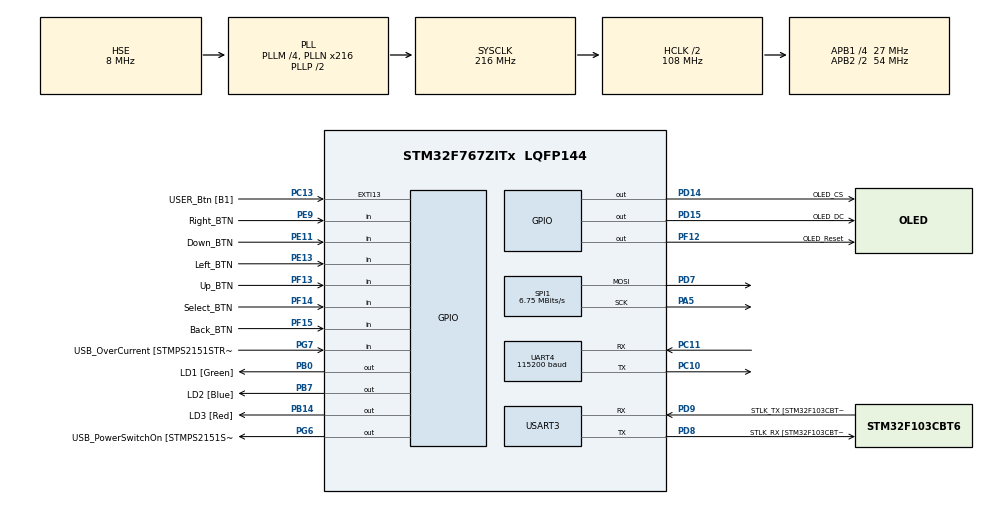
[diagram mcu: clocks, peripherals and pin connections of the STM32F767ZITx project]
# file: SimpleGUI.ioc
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Mcu.Family=STM32F7
Mcu.Name=STM32F767ZITx
Mcu.Package=LQFP144
NVIC.PriorityGroup=NVIC_PRIORITYGROUP_4
NVIC.TIM3_IRQn=true\:0\:0\:false\:false\:true\:true\:true\:true
NVIC.UART4_IRQn=true\:0\:0\:false\:false\:true\:true\:true\:true
NVIC.USART3_IRQn=true\:0\:0\:false\:false\:true\:true\:true\:true
PA1.GPIO_Label=RMII_REF_CLK [LAN8742A-CZ-TR_REFCLK0]
PA1.Signal=ETH_REF_CLK
PA10.GPIO_Label=USB_ID
PA10.Signal=USB_OTG_FS_ID
PA11.GPIO_Label=USB_DM
PA11.Signal=USB_OTG_FS_DM
PA12.GPIO_Label=USB_DP
PA12.Signal=USB_OTG_FS_DP
PA13.GPIO_Label=TMS
PA13.Mode=Serial_Wire
PA13.Signal=SYS_JTMS-SWDIO
PA14.GPIO_Label=TCK
PA14.Mode=Serial_Wire
PA14.Signal=SYS_JTCK-SWCLK
PA2.GPIO_Label=RMII_MDIO [LAN8742A-CZ-TR_MDIO]
PA2.Signal=ETH_MDIO
PA5.Mode=TX_Only_Simplex_Unidirect_Master
PA5.Signal=SPI1_SCK
PA7.GPIO_Label=RMII_CRS_DV [LAN8742A-CZ-TR_CRS_DV]
PA7.Signal=ETH_CRS_DV
PA8.GPIO_Label=USB_SOF [TP1]
PA8.Signal=USB_OTG_FS_SOF
PA9.GPIO_Label=USB_VBUS
PA9.Signal=USB_OTG_FS_VBUS
PB0.GPIO_Label=LD1 [Green]
PB0.Signal=GPIO_Output
PB13.GPIO_Label=RMII_TXD1 [LAN8742A-CZ-TR_TXD1]
PB13.Signal=ETH_TXD1
PB14.GPIO_Label=LD3 [Red]
PB14.Signal=GPIO_Output
PB3.GPIO_Label=SWO
PB3.Signal=SYS_JTDO-SWO
PB7.GPIO_Label=LD2 [Blue]
PB7.Signal=GPIO_Output
PC1.GPIO_Label=RMII_MDC [LAN8742A-CZ-TR_MDC]
PC1.Signal=ETH_MDC
PC10.Mode=Asynchronous
PC10.Signal=UART4_TX
PC11.Mode=Asynchronous
PC11.Signal=UART4_RX
PC13.GPIO_Label=USER_Btn [B1]
PC13.Signal=GPXTI13
PC14/OSC32_IN.Mode=LSE-External-Oscillator
PC14/OSC32_IN.Signal=RCC_OSC32_IN
PC15/OSC32_OUT.Mode=LSE-External-Oscillator
PC15/OSC32_OUT.Signal=RCC_OSC32_OUT
PC4.GPIO_Label=RMII_RXD0 [LAN8742A-CZ-TR_RXD0]
PC4.Signal=ETH_RXD0
PC5.GPIO_Label=RMII_RXD1 [LAN8742A-CZ-TR_RXD1]
PC5.Signal=ETH_RXD1
PD14.GPIO_Label=OLED_CS
PD14.Signal=GPIO_Output
PD15.GPIO_Label=OLED_DC
PD15.Signal=GPIO_Output
PD7.Mode=TX_Only_Simplex_Unidirect_Master
PD7.Signal=SPI1_MOSI
PD8.GPIO_Label=STLK_RX [STM32F103CBT6_PA3]
PD8.Mode=Asynchronous
PD8.Signal=USART3_TX
PD9.GPIO_Label=STLK_TX [STM32F103CBT6_PA2]
PD9.Mode=Asynchronous
PD9.Signal=USART3_RX
PE11.GPIO_Label=Down_BTN
PE11.GPIO_PuPd=GPIO_PULLDOWN
PE11.Signal=GPIO_Input
PE13.GPIO_Label=Left_BTN
PE13.GPIO_PuPd=GPIO_PULLDOWN
PE13.Signal=GPIO_Input
PE9.GPIO_Label=Right_BTN
PE9.GPIO_PuPd=GPIO_PULLDOWN
PE9.Signal=GPIO_Input
PF12.GPIO_Label=OLED_Reset
PF12.Signal=GPIO_Output
PF13.GPIO_Label=Up_BTN
PF13.GPIO_PuPd=GPIO_PULLDOWN
PF13.Signal=GPIO_Input
PF14.GPIO_Label=Select_BTN
PF14.GPIO_PuPd=GPIO_PULLDOWN
PF14.Signal=GPIO_Input
PF15.GPIO_Label=Back_BTN
PF15.GPIO_PuPd=GPIO_PULLDOWN
PF15.Signal=GPIO_Input
PG11.GPIO_Label=RMII_TX_EN [LAN8742A-CZ-TR_TXEN]
PG11.Signal=ETH_TX_EN
PG13.GPIO_Label=RMII_TXD0 [LAN8742A-CZ-TR_TXD0]
PG13.Signal=ETH_TXD0
PG6.GPIO_Label=USB_PowerSwitchOn [STMPS2151STR_EN]
PG6.Signal=GPIO_Output
PG7.GPIO_Label=USB_OverCurrent [STMPS2151STR_FAULT]
PG7.Signal=GPIO_Input
PH0/OSC_IN.GPIO_Label=MCO [STM32F103CBT6_PA8]
PH0/OSC_IN.Mode=HSE-External-Clock-Source
PH0/OSC_IN.Signal=RCC_OSC_IN
PH1/OSC_OUT.Mode=HSE-External-Clock-Source
PH1/OSC_OUT.Signal=RCC_OSC_OUT
ProjectManager.HeapSize=0x200
ProjectManager.StackSize=0x400
ProjectManager.TargetToolchain=STM32CubeIDE
RCC.48MHZClocksFreq_Value=24000000
RCC.AHBCLKDivider=RCC_SYSCLK_DIV2
RCC.AHBFreq_Value=108000000
RCC.APB1CLKDivider=RCC_HCLK_DIV4
RCC.APB1Freq_Value=27000000
RCC.APB1TimFreq_Value=54000000
RCC.APB2CLKDivider=RCC_HCLK_DIV2
RCC.APB2Freq_Value=54000000
RCC.APB2TimFreq_Value=108000000
RCC.CortexFreq_Value=108000000
RCC.HCLKFreq_Value=108000000
RCC.HSE_VALUE=8000000
RCC.HSI_VALUE=16000000
RCC.PLLM=4
RCC.PLLMUL=RCC_PLL_MUL9
RCC.PLLN=216
RCC.PLLQ=9
RCC.PLLSourceVirtual=RCC_PLLSOURCE_HSE
RCC.PRESCALERUSB=RCC_USBCLKSOURCE_PLL_DIV1_5
RCC.SYSCLKFreq_VALUE=216000000
RCC.SYSCLKSource=RCC_SYSCLKSOURCE_PLLCLK
RCC.SYSCLKSourceVirtual=RCC_SYSCLKSOURCE_PLLCLK
RCC.USBFreq_Value=48000000
RCC.VCOOutputFreq_Value=432000000
SPI1.BaudRatePrescaler=SPI_BAUDRATEPRESCALER_8
SPI1.CalculateBaudRate=6.75 MBits/s
SPI1.DataSize=SPI_DATASIZE_8BIT
SPI1.Direction=SPI_DIRECTION_2LINES
SPI1.Mode=SPI_MODE_MASTER
SPI1.NSSPMode=SPI_NSS_PULSE_DISABLE
SPI1.VirtualType=VM_MASTER
TIM3.AutoReloadPreload=TIM_AUTORELOAD_PRELOAD_ENABLE
TIM3.Prescaler=54000
UART4.BaudRate=115200
UART4.Parity=PARITY_NONE
USART3.VirtualMode-Asynchronous=VM_ASYNC
VP_TIM3_VS_ClockSourceINT.Mode=Internal
board=NUCLEO-F767ZI

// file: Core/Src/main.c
/* USER CODE BEGIN Header */
/**
  ******************************************************************************
  * @file           : main.c
  * @brief          : Main program body
  ******************************************************************************
  * @attention
  *
  * Copyright (c) 2024 STMicroelectronics.
  * All rights reserved.
  *
  * This software is licensed under terms that can be found in the LICENSE file
  * in the root directory of this software component.
  * If no LICENSE file comes with this software, it is provided AS-IS.
  *
  ******************************************************************************
  */
/* USER CODE END Header */
#include "main.h"

/* USER CODE BEGIN Includes */
#include "u8g2stm32/u8g2.h"
#include <string.h>
#include "Bitmaps.h"
#include "GUI.h"
#include <stdio.h>
/* USER CODE END Includes */

/* USER CODE BEGIN PD */
#define TX_TIMEOUT		100
/* USER CODE END PD */

SPI_HandleTypeDef hspi1;

TIM_HandleTypeDef htim3;

UART_HandleTypeDef huart4;
UART_HandleTypeDef huart3;

void SystemClock_Config(void);
static void MX_GPIO_Init(void);
static void MX_SPI1_Init(void);
static void MX_TIM3_Init(void);
static void MX_UART4_Init(void);
static void MX_USART3_UART_Init(void);
/* USER CODE BEGIN PFP */

uint8_t u8g2_gpio_and_delay_stm32(U8X8_UNUSED u8x8_t *u8x8, U8X8_UNUSED uint8_t msg, U8X8_UNUSED uint8_t arg_int, U8X8_UNUSED void *arg_ptr)
{
	switch(msg){
		//Initialize SPI peripheral
		case U8X8_MSG_GPIO_AND_DELAY_INIT:
			/* HAL initialization contains all what we need so we can skip this part. */

		break;

		//Function which implements a delay, arg_int contains the amount of ms
		case U8X8_MSG_DELAY_MILLI:
		HAL_Delay(arg_int);

		break;
		//Function which delays 10us
		case U8X8_MSG_DELAY_10MICRO:
		for (uint16_t n = 0; n < 320; n++)
		{
			__NOP();
		}

		break;
		//Function which delays 100ns
		case U8X8_MSG_DELAY_100NANO:
		__NOP();

		break;
		// Function to define the logic level of the CS line
		case U8X8_MSG_GPIO_CS:
			HAL_GPIO_WritePin(OLED_CS_GPIO_Port, OLED_CS_Pin, arg_int);
			//Disable NSS and enable another gpio pin as CS
		break;
		//Function to define the logic level of the Data/ Command line
		case U8X8_MSG_GPIO_DC:
			HAL_GPIO_WritePin(OLED_DC_GPIO_Port, OLED_DC_Pin, arg_int);
		break;
		//Function to define the logic level of the RESET line
		case U8X8_MSG_GPIO_RESET:
			HAL_GPIO_WritePin(OLED_Reset_GPIO_Port, OLED_Reset_Pin, arg_int);
		break;

	}

	return 1; // command processed successfully.
}

uint8_t u8x8_byte_stm32_hw_spi(u8x8_t *u8x8, uint8_t msg, uint8_t arg_int, void *arg_ptr) {
	switch(msg) {
	case U8X8_MSG_BYTE_SEND:
		/* Insert codes to transmit data */
		if(HAL_SPI_Transmit(&hspi1, arg_ptr, arg_int, TX_TIMEOUT) != HAL_OK) return 0;
		break;
	case U8X8_MSG_BYTE_INIT:
		/* Insert codes to begin SPI transmission */
		break;
	case U8X8_MSG_BYTE_SET_DC:
		/* Control DC pin, U8X8_MSG_GPIO_DC will be called */
		u8x8_gpio_SetDC(u8x8, arg_int);
		break;
	case U8X8_MSG_BYTE_START_TRANSFER:
		/* Select slave, U8X8_MSG_GPIO_CS will be called */
		u8x8_gpio_SetCS(u8x8, u8x8->display_info->chip_enable_level);
		HAL_Delay(1);
		break;
	case U8X8_MSG_BYTE_END_TRANSFER:
		HAL_Delay(1);
		/* Insert codes to end SPI transmission */
		u8x8_gpio_SetCS(u8x8, u8x8->display_info->chip_disable_level);
		break;
	default:
		return 0;
	}
	return 1;
}

/* USER CODE END PFP */

/* USER CODE BEGIN 0 */
static u8g2_t u8g2;

int _write(int file, char *ptr, int len){
	HAL_UART_Transmit(&huart3, (uint8_t*)ptr, len, HAL_MAX_DELAY);
	return len;
}

uint8_t UART4_RX[128];
/* USER CODE END 0 */

int main(void)
{

  /* MCU Configuration--------------------------------------------------------*/

  /* Reset of all peripherals, Initializes the Flash interface and the Systick. */
  HAL_Init();

  /* Configure the system clock */
  SystemClock_Config();

  /* Initialize all configured peripherals */
  MX_GPIO_Init();
  MX_SPI1_Init();
  MX_TIM3_Init();
  MX_UART4_Init();
  MX_USART3_UART_Init();
  /* USER CODE BEGIN 2 */
  HAL_GPIO_WritePin(LD2_GPIO_Port, LD2_Pin,0);
	HAL_TIM_Base_Start_IT(&htim3);

  u8g2_Setup_ssd1309_128x64_noname2_f(&u8g2, U8G2_R0, u8x8_byte_stm32_hw_spi, u8g2_gpio_and_delay_stm32);
  u8g2_InitDisplay(&u8g2); // send init sequence to the display, display is in sleep mode after this,
  u8g2_SetPowerSave(&u8g2, 0); // wake up display
  /* USER CODE END 2 */

  /* Infinite loop */
  while (1)
  {

    /* USER CODE BEGIN 3 */
	  //USE FREE RTOS
  	handle_Windows(&u8g2);//Task1
  	HAL_GPIO_TogglePin(LD2_GPIO_Port,LD2_Pin);//Task2
  	HAL_Delay(10);
  	//ESP WIFI Handle
//  	HAL_UART_Transmit(&huart4, (uint8_t*)"AT\r\n", strlen("AT\r\n")-1, HAL_MAX_DELAY);
//  	HAL_UART_Receive_IT(&huart4, (uint8_t*)UART4_RX, 128);
////  	printf("Command: AT; Response: %s\r\n",UART4_RX);
//  	HAL_Delay(1000);
  }
  /* USER CODE END 3 */
}

void SystemClock_Config(void)
{
  RCC_OscInitTypeDef RCC_OscInitStruct = {0};
  RCC_ClkInitTypeDef RCC_ClkInitStruct = {0};

  /** Configure LSE Drive Capability
  */
  HAL_PWR_EnableBkUpAccess();

  /** Configure the main internal regulator output voltage
  */
  __HAL_RCC_PWR_CLK_ENABLE();
  __HAL_PWR_VOLTAGESCALING_CONFIG(PWR_REGULATOR_VOLTAGE_SCALE3);

  /** Initializes the RCC Oscillators according to the specified parameters
  * in the RCC_OscInitTypeDef structure.
  */
  RCC_OscInitStruct.OscillatorType = RCC_OSCILLATORTYPE_HSE;
  RCC_OscInitStruct.HSEState = RCC_HSE_BYPASS;
  RCC_OscInitStruct.PLL.PLLState = RCC_PLL_ON;
  RCC_OscInitStruct.PLL.PLLSource = RCC_PLLSOURCE_HSE;
  RCC_OscInitStruct.PLL.PLLM = 4;
  RCC_OscInitStruct.PLL.PLLN = 216;
  RCC_OscInitStruct.PLL.PLLP = RCC_PLLP_DIV2;
  RCC_OscInitStruct.PLL.PLLQ = 9;
  RCC_OscInitStruct.PLL.PLLR = 2;
  if (HAL_RCC_OscConfig(&RCC_OscInitStruct) != HAL_OK)
  {
    Error_Handler();
  }

  /** Initializes the CPU, AHB and APB buses clocks
  */
  RCC_ClkInitStruct.ClockType = RCC_CLOCKTYPE_HCLK|RCC_CLOCKTYPE_SYSCLK
                              |RCC_CLOCKTYPE_PCLK1|RCC_CLOCKTYPE_PCLK2;
  RCC_ClkInitStruct.SYSCLKSource = RCC_SYSCLKSOURCE_PLLCLK;
  RCC_ClkInitStruct.AHBCLKDivider = RCC_SYSCLK_DIV2;
  RCC_ClkInitStruct.APB1CLKDivider = RCC_HCLK_DIV4;
  RCC_ClkInitStruct.APB2CLKDivider = RCC_HCLK_DIV2;

  if (HAL_RCC_ClockConfig(&RCC_ClkInitStruct, FLASH_LATENCY_3) != HAL_OK)
  {
    Error_Handler();
  }
}

static void MX_SPI1_Init(void)
{

  /* SPI1 parameter configuration*/
  hspi1.Instance = SPI1;
  hspi1.Init.Mode = SPI_MODE_MASTER;
  hspi1.Init.Direction = SPI_DIRECTION_2LINES;
  hspi1.Init.DataSize = SPI_DATASIZE_8BIT;
  hspi1.Init.CLKPolarity = SPI_POLARITY_LOW;
  hspi1.Init.CLKPhase = SPI_PHASE_1EDGE;
  hspi1.Init.NSS = SPI_NSS_SOFT;
  hspi1.Init.BaudRatePrescaler = SPI_BAUDRATEPRESCALER_8;
  hspi1.Init.FirstBit = SPI_FIRSTBIT_MSB;
  hspi1.Init.TIMode = SPI_TIMODE_DISABLE;
  hspi1.Init.CRCCalculation = SPI_CRCCALCULATION_DISABLE;
  hspi1.Init.CRCPolynomial = 7;
  hspi1.Init.CRCLength = SPI_CRC_LENGTH_DATASIZE;
  hspi1.Init.NSSPMode = SPI_NSS_PULSE_DISABLE;
  if (HAL_SPI_Init(&hspi1) != HAL_OK)
  {
    Error_Handler();
  }

}

static void MX_TIM3_Init(void)
{

  TIM_ClockConfigTypeDef sClockSourceConfig = {0};
  TIM_MasterConfigTypeDef sMasterConfig = {0};

  htim3.Instance = TIM3;
  htim3.Init.Prescaler = 54000;
  htim3.Init.CounterMode = TIM_COUNTERMODE_UP;
  htim3.Init.Period = 65535;
  htim3.Init.ClockDivision = TIM_CLOCKDIVISION_DIV1;
  htim3.Init.AutoReloadPreload = TIM_AUTORELOAD_PRELOAD_ENABLE;
  if (HAL_TIM_Base_Init(&htim3) != HAL_OK)
  {
    Error_Handler();
  }
  sClockSourceConfig.ClockSource = TIM_CLOCKSOURCE_INTERNAL;
  if (HAL_TIM_ConfigClockSource(&htim3, &sClockSourceConfig) != HAL_OK)
  {
    Error_Handler();
  }
  sMasterConfig.MasterOutputTrigger = TIM_TRGO_RESET;
  sMasterConfig.MasterSlaveMode = TIM_MASTERSLAVEMODE_DISABLE;
  if (HAL_TIMEx_MasterConfigSynchronization(&htim3, &sMasterConfig) != HAL_OK)
  {
    Error_Handler();
  }
  /* USER CODE BEGIN TIM3_Init 2 */
//  TIM3->ARR = 0;
  TIM3->ARR = 51999;//Count up to
  /* USER CODE END TIM3_Init 2 */

}

static void MX_UART4_Init(void)
{

  huart4.Instance = UART4;
  huart4.Init.BaudRate = 115200;
  huart4.Init.WordLength = UART_WORDLENGTH_8B;
  huart4.Init.StopBits = UART_STOPBITS_1;
  huart4.Init.Parity = UART_PARITY_NONE;
  huart4.Init.Mode = UART_MODE_TX_RX;
  huart4.Init.HwFlowCtl = UART_HWCONTROL_NONE;
  huart4.Init.OverSampling = UART_OVERSAMPLING_16;
  huart4.Init.OneBitSampling = UART_ONE_BIT_SAMPLE_DISABLE;
  huart4.AdvancedInit.AdvFeatureInit = UART_ADVFEATURE_NO_INIT;
  if (HAL_UART_Init(&huart4) != HAL_OK)
  {
    Error_Handler();
  }

}

static void MX_USART3_UART_Init(void)
{

  huart3.Instance = USART3;
  huart3.Init.BaudRate = 115200;
  huart3.Init.WordLength = UART_WORDLENGTH_8B;
  huart3.Init.StopBits = UART_STOPBITS_1;
  huart3.Init.Parity = UART_PARITY_NONE;
  huart3.Init.Mode = UART_MODE_TX_RX;
  huart3.Init.HwFlowCtl = UART_HWCONTROL_NONE;
  huart3.Init.OverSampling = UART_OVERSAMPLING_16;
  huart3.Init.OneBitSampling = UART_ONE_BIT_SAMPLE_DISABLE;
  huart3.AdvancedInit.AdvFeatureInit = UART_ADVFEATURE_NO_INIT;
  if (HAL_UART_Init(&huart3) != HAL_OK)
  {
    Error_Handler();
  }

}

static void MX_GPIO_Init(void)
{
  GPIO_InitTypeDef GPIO_InitStruct = {0};

  /* GPIO Ports Clock Enable */
  __HAL_RCC_GPIOC_CLK_ENABLE();
  __HAL_RCC_GPIOH_CLK_ENABLE();
  __HAL_RCC_GPIOA_CLK_ENABLE();
  __HAL_RCC_GPIOB_CLK_ENABLE();
  __HAL_RCC_GPIOF_CLK_ENABLE();
  __HAL_RCC_GPIOE_CLK_ENABLE();
  __HAL_RCC_GPIOD_CLK_ENABLE();
  __HAL_RCC_GPIOG_CLK_ENABLE();

  /*Configure GPIO pin Output Level */
  HAL_GPIO_WritePin(GPIOB, LD1_Pin|LD3_Pin|LD2_Pin, GPIO_PIN_RESET);

  /*Configure GPIO pin Output Level */
  HAL_GPIO_WritePin(OLED_Reset_GPIO_Port, OLED_Reset_Pin, GPIO_PIN_RESET);

  /*Configure GPIO pin Output Level */
  HAL_GPIO_WritePin(GPIOD, OLED_CS_Pin|OLED_DC_Pin, GPIO_PIN_RESET);

  /*Configure GPIO pin Output Level */
  HAL_GPIO_WritePin(USB_PowerSwitchOn_GPIO_Port, USB_PowerSwitchOn_Pin, GPIO_PIN_RESET);

  /*Configure GPIO pin : USER_Btn_Pin */
  GPIO_InitStruct.Pin = USER_Btn_Pin;
  GPIO_InitStruct.Mode = GPIO_MODE_IT_RISING;
  GPIO_InitStruct.Pull = GPIO_NOPULL;
  HAL_GPIO_Init(USER_Btn_GPIO_Port, &GPIO_InitStruct);

  /*Configure GPIO pins : RMII_MDC_Pin RMII_RXD0_Pin RMII_RXD1_Pin */
  GPIO_InitStruct.Pin = RMII_MDC_Pin|RMII_RXD0_Pin|RMII_RXD1_Pin;
  GPIO_InitStruct.Mode = GPIO_MODE_AF_PP;
  GPIO_InitStruct.Pull = GPIO_NOPULL;
  GPIO_InitStruct.Speed = GPIO_SPEED_FREQ_VERY_HIGH;
  GPIO_InitStruct.Alternate = GPIO_AF11_ETH;
  HAL_GPIO_Init(GPIOC, &GPIO_InitStruct);

  /*Configure GPIO pins : RMII_REF_CLK_Pin RMII_MDIO_Pin RMII_CRS_DV_Pin */
  GPIO_InitStruct.Pin = RMII_REF_CLK_Pin|RMII_MDIO_Pin|RMII_CRS_DV_Pin;
  GPIO_InitStruct.Mode = GPIO_MODE_AF_PP;
  GPIO_InitStruct.Pull = GPIO_NOPULL;
  GPIO_InitStruct.Speed = GPIO_SPEED_FREQ_VERY_HIGH;
  GPIO_InitStruct.Alternate = GPIO_AF11_ETH;
  HAL_GPIO_Init(GPIOA, &GPIO_InitStruct);

  /*Configure GPIO pins : LD1_Pin LD3_Pin LD2_Pin */
  GPIO_InitStruct.Pin = LD1_Pin|LD3_Pin|LD2_Pin;
  GPIO_InitStruct.Mode = GPIO_MODE_OUTPUT_PP;
  GPIO_InitStruct.Pull = GPIO_NOPULL;
  GPIO_InitStruct.Speed = GPIO_SPEED_FREQ_LOW;
  HAL_GPIO_Init(GPIOB, &GPIO_InitStruct);

  /*Configure GPIO pin : OLED_Reset_Pin */
  GPIO_InitStruct.Pin = OLED_Reset_Pin;
  GPIO_InitStruct.Mode = GPIO_MODE_OUTPUT_PP;
  GPIO_InitStruct.Pull = GPIO_NOPULL;
  GPIO_InitStruct.Speed = GPIO_SPEED_FREQ_LOW;
  HAL_GPIO_Init(OLED_Reset_GPIO_Port, &GPIO_InitStruct);

  /*Configure GPIO pins : Up_BTN_Pin Select_BTN_Pin Back_BTN_Pin */
  GPIO_InitStruct.Pin = Up_BTN_Pin|Select_BTN_Pin|Back_BTN_Pin;
  GPIO_InitStruct.Mode = GPIO_MODE_INPUT;
  GPIO_InitStruct.Pull = GPIO_PULLDOWN;
  HAL_GPIO_Init(GPIOF, &GPIO_InitStruct);

  /*Configure GPIO pins : Right_BTN_Pin Down_BTN_Pin Left_BTN_Pin */
  GPIO_InitStruct.Pin = Right_BTN_Pin|Down_BTN_Pin|Left_BTN_Pin;
  GPIO_InitStruct.Mode = GPIO_MODE_INPUT;
  GPIO_InitStruct.Pull = GPIO_PULLDOWN;
  HAL_GPIO_Init(GPIOE, &GPIO_InitStruct);

  /*Configure GPIO pin : RMII_TXD1_Pin */
  GPIO_InitStruct.Pin = RMII_TXD1_Pin;
  GPIO_InitStruct.Mode = GPIO_MODE_AF_PP;
  GPIO_InitStruct.Pull = GPIO_NOPULL;
  GPIO_InitStruct.Speed = GPIO_SPEED_FREQ_VERY_HIGH;
  GPIO_InitStruct.Alternate = GPIO_AF11_ETH;
  HAL_GPIO_Init(RMII_TXD1_GPIO_Port, &GPIO_InitStruct);

  /*Configure GPIO pins : OLED_CS_Pin OLED_DC_Pin */
  GPIO_InitStruct.Pin = OLED_CS_Pin|OLED_DC_Pin;
  GPIO_InitStruct.Mode = GPIO_MODE_OUTPUT_PP;
  GPIO_InitStruct.Pull = GPIO_NOPULL;
  GPIO_InitStruct.Speed = GPIO_SPEED_FREQ_LOW;
  HAL_GPIO_Init(GPIOD, &GPIO_InitStruct);

  /*Configure GPIO pin : USB_PowerSwitchOn_Pin */
  GPIO_InitStruct.Pin = USB_PowerSwitchOn_Pin;
  GPIO_InitStruct.Mode = GPIO_MODE_OUTPUT_PP;
  GPIO_InitStruct.Pull = GPIO_NOPULL;
  GPIO_InitStruct.Speed = GPIO_SPEED_FREQ_LOW;
  HAL_GPIO_Init(USB_PowerSwitchOn_GPIO_Port, &GPIO_InitStruct);

  /*Configure GPIO pin : USB_OverCurrent_Pin */
  GPIO_InitStruct.Pin = USB_OverCurrent_Pin;
  GPIO_InitStruct.Mode = GPIO_MODE_INPUT;
  GPIO_InitStruct.Pull = GPIO_NOPULL;
  HAL_GPIO_Init(USB_OverCurrent_GPIO_Port, &GPIO_InitStruct);

  /*Configure GPIO pins : USB_SOF_Pin USB_ID_Pin USB_DM_Pin USB_DP_Pin */
  GPIO_InitStruct.Pin = USB_SOF_Pin|USB_ID_Pin|USB_DM_Pin|USB_DP_Pin;
  GPIO_InitStruct.Mode = GPIO_MODE_AF_PP;
  GPIO_InitStruct.Pull = GPIO_NOPULL;
  GPIO_InitStruct.Speed = GPIO_SPEED_FREQ_VERY_HIGH;
  GPIO_InitStruct.Alternate = GPIO_AF10_OTG_FS;
  HAL_GPIO_Init(GPIOA, &GPIO_InitStruct);

  /*Configure GPIO pin : USB_VBUS_Pin */
  GPIO_InitStruct.Pin = USB_VBUS_Pin;
  GPIO_InitStruct.Mode = GPIO_MODE_INPUT;
  GPIO_InitStruct.Pull = GPIO_NOPULL;
  HAL_GPIO_Init(USB_VBUS_GPIO_Port, &GPIO_InitStruct);

  /*Configure GPIO pins : RMII_TX_EN_Pin RMII_TXD0_Pin */
  GPIO_InitStruct.Pin = RMII_TX_EN_Pin|RMII_TXD0_Pin;
  GPIO_InitStruct.Mode = GPIO_MODE_AF_PP;
  GPIO_InitStruct.Pull = GPIO_NOPULL;
  GPIO_InitStruct.Speed = GPIO_SPEED_FREQ_VERY_HIGH;
  GPIO_InitStruct.Alternate = GPIO_AF11_ETH;
  HAL_GPIO_Init(GPIOG, &GPIO_InitStruct);

}

/* USER CODE BEGIN 4 */
//--------------------------------------------------------------------------------------------------------------------------------------------------------------------------------------------------------
//Timer3 has rolled over
void HAL_TIM_PeriodElapsedCallback(TIM_HandleTypeDef *htim){
	if(htim == &htim3){
		if(Tim3Count==255){
			//Handle Idle Animation Delay
			z_iter++;
			z_iter=z_iter%4;
		}
		if(Tim3Count>=255){
			Tim3Count=0;//Don't let overflow
		}
		Tim3Count++;
	}
}

void HAL_UART_RxCpltCallback(UART_HandleTypeDef *huart){
	HAL_UART_Receive_IT(&huart4, UART4_RX, 128);
	printf("Command: AT; Response: %s\r\n",UART4_RX);

}
//--------------------------------------------------------------------------------------------------------------------------------------------------------------------------------------------------------
/* USER CODE END 4 */

void Error_Handler(void)
{
  __disable_irq();
  while (1)
  {
  }
}
